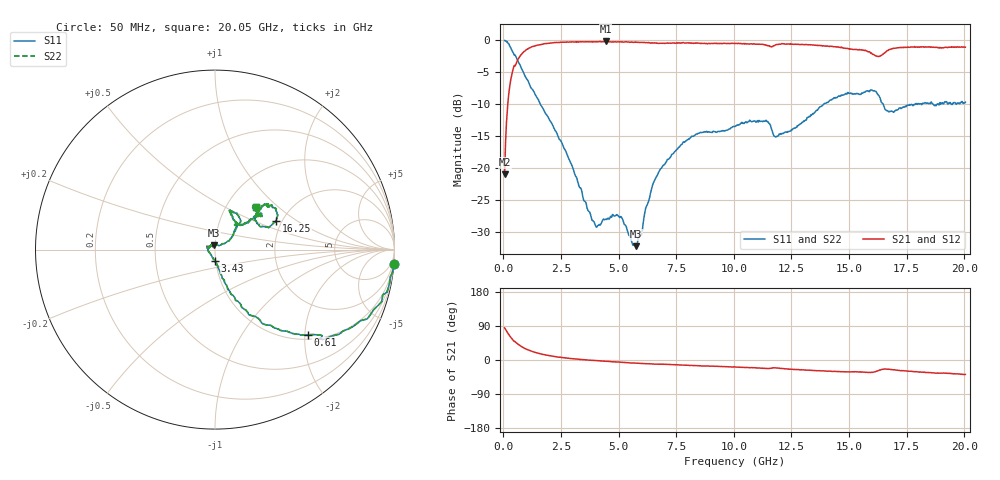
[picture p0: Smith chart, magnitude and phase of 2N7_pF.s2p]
! 500R07S2R7BV4
! Data taken April 11, 2003
! Data taken on a HP 8720C VNA using a series-through test fixture and TRL* de-embedding
#	mhz	s	ma	r	50
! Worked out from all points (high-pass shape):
!   1001 points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, 50 MHz to 20.05 GHz, reference 50 ohm
!   highest |S21| = -0.12 dB at 4.43 GHz (marker M1); lowest = -21.0 dB at 50 MHz (marker M2)
!   |S21| within 3 dB of the highest: 609.8 MHz to end of sweep
!   lowest |S11| = -32.3 dB at 5.75 GHz (marker M3), VSWR 1.05, Z = 49.3 + j2.3 ohm
!   |S11| at or under -10 dB: 1.597 GHz to 13.91 GHz (12.31 GHz wide, 159 % of centre); 16.48 GHz to 17.88 GHz (1.4 GHz wide, 8.15 % of centre); 18.65 GHz to 18.83 GHz (171.5 MHz wide, 0.915 % of centre)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
!   |S22| runs from -32.3 to 0.0 dB; largest |S21 - S12| = 0
!   S11 on the Smith chart (normalised r, x): 50 MHz: 0, -25; 610 MHz: 1.10, -2.06; 3.43 GHz: 0.99, -0.12; 16.25 GHz: 1.86, +0.70; 20.05 GHz: 1.37, +0.72
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50  1 -4.5  0.08888 84.7  0.08888 84.7  1 -4.5
270  0.903 -26.0  0.4313 63.8  0.4313 63.8  0.903 -26.0
610  0.701 -42.7  0.6986 42.7  0.6986 42.7  0.701 -42.7
990  0.5041 -56.1  0.8452 28.6  0.8452 28.6  0.5041 -56.1
1450  0.3577 -64.8  0.9163 18.8  0.9163 18.8  0.3577 -64.8
2610  0.1447 -76.2  0.9688 5.9  0.9688 5.9  0.1447 -76.2
3390  0.06675 -89.0  0.977 1.3  0.977 1.3  0.06675 -89.0
3430  0.06119 -89.7  0.9763 1.0  0.9763 1.0  0.06119 -89.7
3970  0.03609 -131.3  0.976 -1.1  0.976 -1.1  0.03609 -131.3
4430  0.03952 -172.6  0.9867 -3.3  0.9867 -3.3  0.03952 -172.6
5050  0.04073 160.5  0.9755 -5.6  0.9755 -5.6  0.04073 160.5
5750  0.02427 106.0  0.9743 -8.6  0.9743 -8.6  0.02427 106.0
6730  0.09183 32.4  0.9474 -11.3  0.9474 -11.3  0.09183 32.4
8170  0.1771 46.3  0.9506 -14.5  0.9506 -14.5  0.1771 46.3
10050  0.2111 64.4  0.9451 -18.2  0.9451 -18.2  0.2111 64.4
11390  0.2361 59.3  0.9202 -22.2  0.9202 -22.2  0.2361 59.3
11850  0.1761 51.7  0.9293 -20.7  0.9293 -20.7  0.1761 51.7
13390  0.2621 40.1  0.923 -27.2  0.923 -27.2  0.2621 40.1
14850  0.3794 41.8  0.8662 -30.9  0.8662 -30.9  0.3794 41.8
16250  0.3774 25.3  0.7519 -28.4  0.7519 -28.4  0.3774 25.3
16730  0.2745 31.9  0.8464 -24.5  0.8464 -24.5  0.2745 31.9
20050  0.3278 46.2  0.8849 -38.1  0.8849 -38.1  0.3278 46.2
